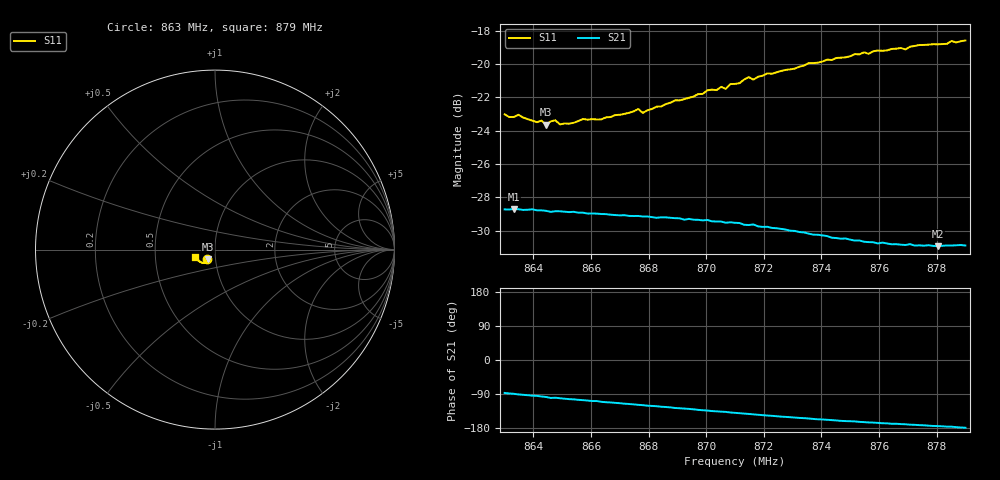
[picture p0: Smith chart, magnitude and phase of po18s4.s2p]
# HZ S RI R 50
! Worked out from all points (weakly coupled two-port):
!   101 points, 863 MHz to 879 MHz, reference 50 ohm
!   highest |S21| = -28.70 dB at 863.32 MHz (marker M1); lowest = -30.9 dB at 878.04 MHz (marker M2)
!   lowest |S11| = -23.6 dB at 864.44 MHz (marker M3), VSWR 1.14, Z = 46 - j4.91 ohm
!   |S11| at or under -10 dB: start of sweep to end of sweep
!   S12 and S22 are empty: the file has one direction only
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8.63e8  -0.0459 -0.0537  0.002 -0.0366  0 0  0 0
8.6332e8  -0.0432 -0.0543  0.00048 -0.0367  0 0  0 0
8.6348e8  -0.0443 -0.0548  -0.000541 -0.0367  0 0  0 0
8.6412e8  -0.0401 -0.0536  -0.00302 -0.0363  0 0  0 0
8.6428e8  -0.0394 -0.0549  -0.00393 -0.0362  0 0  0 0
8.6444e8  -0.0388 -0.0531  -0.00476 -0.036  0 0  0 0
8.6476e8  -0.0388 -0.0556  -0.00597 -0.0357  0 0  0 0
8.6492e8  -0.037 -0.0545  -0.00684 -0.0355  0 0  0 0
8.6572e8  -0.0367 -0.0577  -0.00984 -0.0344  0 0  0 0
8.6636e8  -0.0362 -0.0578  -0.0123 -0.0333  0 0  0 0
8.6764e8  -0.0367 -0.0634  -0.0166 -0.0308  0 0  0 0
8.678e8  -0.035 -0.0622  -0.017 -0.0305  0 0  0 0
8.6844e8  -0.0368 -0.0649  -0.019 -0.029  0 0  0 0
8.7068e8  -0.0444 -0.0716  -0.0244 -0.0228  0 0  0 0
8.71e8  -0.0473 -0.0732  -0.0254 -0.0217  0 0  0 0
8.7148e8  -0.0524 -0.0748  -0.026 -0.0201  0 0  0 0
8.7164e8  -0.0516 -0.0735  -0.0265 -0.0197  0 0  0 0
8.7212e8  -0.056 -0.0752  -0.0271 -0.0179  0 0  0 0
8.7372e8  -0.0682 -0.074  -0.028 -0.0127  0 0  0 0
8.7644e8  -0.0916 -0.0627  -0.0282 -0.00581  0 0  0 0
8.7804e8  -0.1032 -0.0498  -0.0283 -0.00273  0 0  0 0
8.79e8  -0.1109 -0.0394  -0.0285 -0.000628  0 0  0 0
